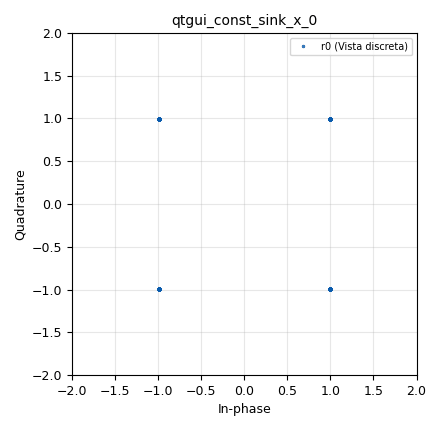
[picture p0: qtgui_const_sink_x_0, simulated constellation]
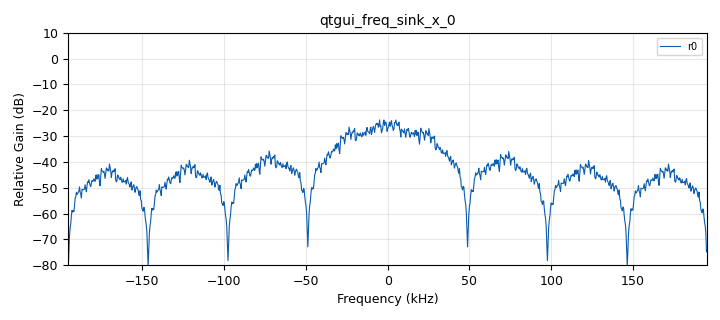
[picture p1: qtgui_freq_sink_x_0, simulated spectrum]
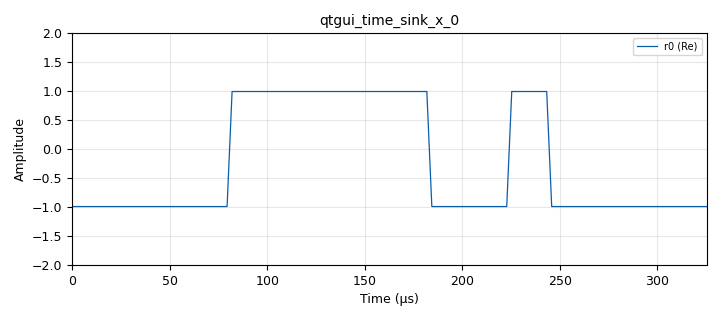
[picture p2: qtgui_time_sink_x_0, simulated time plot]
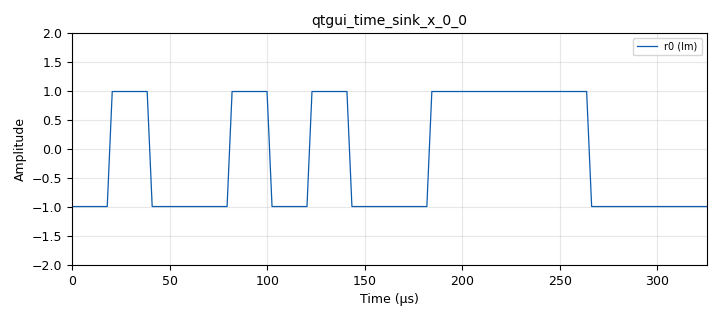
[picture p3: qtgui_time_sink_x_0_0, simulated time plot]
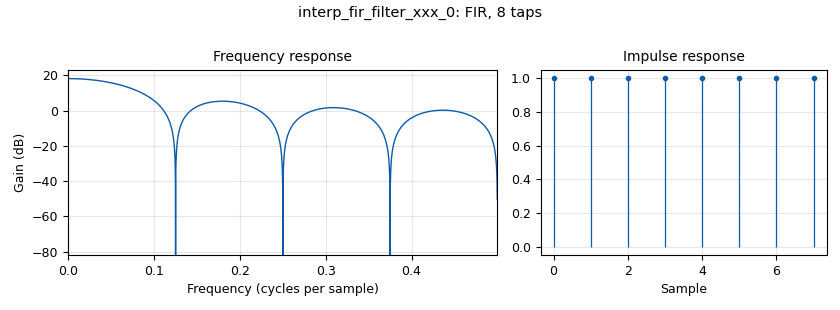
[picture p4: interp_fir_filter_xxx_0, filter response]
options:
  parameters:
    author: Homero Ortega Boada
    description: Lo máximo para practicar el tema de Filtro Coseno Alzado
    generate_options: qt_gui
    id: top_block
    output_language: python
    title: top_block
  states: {}

blocks:
- name: BW_filtro
  id: variable_qtgui_range
  parameters:
    gui_hint: 0,0,1,1
    start: '0'
    step: Fmax/100
    stop: Fmax
    value: Fmax
  states: {}
- name: Ch_phase
  id: variable_qtgui_range
  parameters:
    gui_hint: 0,1,1,1
    label: Ch_phase
    start: '0'
    step: 1/100
    stop: math.pi*2
    value: '0'
  states: {}
- name: Delay_eye
  id: variable_qtgui_range
  parameters:
    gui_hint: 3,0,1,1
    label: Centering the Eye
    rangeType: int
    start: '0'
    step: '1'
    stop: Sps-1
    value: '0'
  states: {}
- name: Fc
  id: variable
  parameters:
    value: 900e6
  states: {}
- name: Fmax
  id: variable
  parameters:
    value: samp_rate/2
  states: {}
- name: Gain_USRP_Rx_dB
  id: variable_qtgui_range
  parameters:
    gui_hint: 4,1,1,1
    label: Gain_USRP_Rx (dB)
    start: '0.'
    step: '1'
    stop: '130'
    value: '20'
    widget: counter
  states: {}
- name: Gain_USRP_Tx_dB
  id: variable_qtgui_range
  parameters:
    gui_hint: 3,1,1,1
    label: Gain_USRP_Tx (dB)
    start: '0.'
    step: '1'
    stop: '130'
    value: '30.'
    widget: counter
  states: {}
- name: M
  id: variable
  parameters:
    value: len(constelacion )
  states: {}
- name: Pn
  id: variable_qtgui_range
  parameters:
    gui_hint: 2,0,1,1
    label: Potencia del ruido
    start: '0'
    step: 1/100
    stop: '1'
    value: '0.05'
  states: {}
- name: Rb
  id: variable
  parameters:
    value: Rs*bps
  states: {}
- name: Rs
  id: variable
  parameters:
    value: samp_rate/Sps
  states: {}
- name: Sps
  id: variable
  parameters:
    value: '8'
  states: {}
- name: Timing
  id: variable_qtgui_range
  parameters:
    gui_hint: menu@4:1,0,1,1
    label: Timing
    rangeType: int
    start: '0'
    step: '1'
    stop: Sps-1
    value: '1'
  states: {}
- name: beta
  id: variable_qtgui_range
  parameters:
    gui_hint: 1,0,1,1
    label: beta
    start: '0'
    step: 1/100
    stop: '1'
    value: '1'
  states: {}
- name: bps
  id: variable
  parameters:
    value: int(math.log(M,2))
  states: {}
- name: ch_freq
  id: variable_qtgui_range
  parameters:
    gui_hint: 1,1,1,1
    label: ch_freq
    start: '0'
    step: 1/100
    stop: '100'
    value: '0'
  states: {}
- name: constelacion
  id: variable
  parameters:
    value: digital.constellation_qpsk().points()
  states: {}
- name: fading
  id: variable_qtgui_range
  parameters:
    gui_hint: 2,1,1,1
    label: fading
    start: '0'
    step: 1/100
    stop: '1'
    value: '1'
  states: {}
- name: h
  id: variable
  parameters:
    value: '[1]*Sps'
  states: {}
- name: h
  id: variable
  parameters:
    value: wform.rcos(Sps,ntaps,beta)
  states: {state: disabled}
- name: h
  id: variable
  parameters:
    value: wform.rrcos(Sps,ntaps,beta)
  states: {state: disabled}
- name: ntaps
  id: variable
  parameters:
    value: 16*Sps
  states: {}
- name: retardo_propag
  id: variable_qtgui_range
  parameters:
    gui_hint: menu@4:0,0,1,1
    label: Delay_Propagation_Compensation
    rangeType: int
    start: '0'
    step: '1'
    stop: Sps*ntaps
    value: '1'
  states: {}
- name: samp_rate
  id: variable
  parameters:
    value: '390625'
  states: {}
- name: analog_random_source_x_0
  id: analog_random_source_x
  parameters:
    max: '2'
    min: '0'
    num_samps: '1000'
    repeat: 'True'
    type: byte
  states: {}
- name: blocks_complex_to_float_0
  id: blocks_complex_to_float
  parameters: {}
  states: {}
- name: blocks_multiply_const_vxx_1_0_0
  id: blocks_multiply_const_vxx
  parameters:
    const: '0.7'
    type: complex
  states: {}
- name: blocks_pack_k_bits_bb_0
  id: blocks_pack_k_bits_bb
  parameters:
    k: '8'
  states: {}
- name: blocks_packed_to_unpacked_xx_0
  id: blocks_packed_to_unpacked_xx
  parameters:
    bits_per_chunk: bps
    endianness: gr.GR_MSB_FIRST
    type: byte
  states: {}
- name: blocks_vector_source_x_0
  id: blocks_vector_source_x
  parameters:
    repeat: 'True'
    type: byte
    vector: (1, 0, 1,1,0,0,1,0)
  states: {state: disabled}
- name: digital_chunks_to_symbols_xx_0
  id: digital_chunks_to_symbols_xx
  parameters:
    dimension: '1'
    in_type: byte
    out_type: complex
    symbol_table: constelacion
  states: {}
- name: digital_diff_encoder_bb_0
  id: digital_diff_encoder_bb
  parameters:
    coding: digital.DIFF_DIFFERENTIAL
    modulus: M
  states: {}
- name: import_0
  id: import
  parameters:
    imports: import math
  states: {}
- name: import_0_0
  id: import
  parameters:
    imports: import random
  states: {}
- name: import_0_0_0
  id: import
  parameters:
    imports: import numpy as np
  states: {}
- name: interp_fir_filter_xxx_0
  id: interp_fir_filter_xxx
  parameters:
    interp: Sps
    taps: h
    type: ccf
  states: {}
- name: menu
  id: qtgui_tab_widget
  parameters:
    gui_hint: 10,0,1,2
    label0: Time
    label1: PSD
    label2: Eye Diagram
    label3: Constellation
    label4: Timing
    label5: M-PAM
    label6: Bits
    label7: RF
    num_tabs: '8'
  states: {}
- name: note_0
  id: note
  parameters:
    note: M-PAM
  states: {}
- name: note_0_0
  id: note
  parameters:
    note: DIFF MODULATION
  states: {}
- name: note_0_0_0
  id: note
  parameters:
    note: PRE-CHANNEL
  states: {}
- name: qtgui_const_sink_x_0
  id: qtgui_const_sink_x
  parameters:
    gui_hint: menu@3:0,0,1,1
    label1: r0 (Vista discreta)
    size: '1024'
    type: complex
  states: {}
- name: qtgui_freq_sink_x_0
  id: qtgui_freq_sink_x
  parameters:
    average: '0.05'
    bw: samp_rate
    fc: '0'
    fftsize: '1024'
    gui_hint: menu@1:0,0,1,1
    label1: r0
    type: complex
    width1: '3'
    ymin: '-80'
  states: {}
- name: qtgui_time_sink_x_0
  id: qtgui_time_sink_x
  parameters:
    gui_hint: menu@0:1,0,1,1
    label1: r0 (Re)
    size: 16*Sps
    srate: samp_rate
    type: float
    width1: '3'
    ymax: '2'
    ymin: '-2'
  states: {}
- name: qtgui_time_sink_x_0_0
  id: qtgui_time_sink_x
  parameters:
    color1: red
    gui_hint: menu@0:2,0,1,1
    label1: r0 (Im)
    size: 16*Sps
    srate: samp_rate
    type: float
    width1: '3'
    ymax: '2'
    ymin: '-2'
  states: {}
- name: uhd_usrp_sink_0
  id: uhd_usrp_sink
  parameters:
    ant0: TX/RX
    center_freq0: Fc
    clock_rate: '0.0'
    dev_args: '""'
    gain0: Gain_USRP_Tx_dB
    len_tag_name: ''
    samp_rate: samp_rate
    sync: none
    type: fc32
  states: {}
- name: virtual_sink_0_0_0
  id: virtual_sink
  parameters:
    stream_id: t3
  states: {}
- name: virtual_sink_0_0_0_1
  id: virtual_sink
  parameters:
    stream_id: t4
  states: {}
- name: virtual_sink_0_0_0_1_0
  id: virtual_sink
  parameters:
    stream_id: t5
  states: {}
- name: virtual_sink_0_2
  id: virtual_sink
  parameters:
    stream_id: t0
  states: {}
- name: virtual_source_0
  id: virtual_source
  parameters:
    stream_id: t0
  states: {}
- name: wform
  id: epy_module
  parameters:
    source_code: |
      import math
      import numpy
      #######################################################
      ##        Hecho por Homero Ortega Boada              ##
      ##        comdiguis@saber.uis.edu.co                 ##
      ##     Universidad Industrial de Santander           ##
      #######################################################

      #######################################################
      ##               Forma rectangular                   ##
      #######################################################                       
      def rect(Sps):
          return Sps*[1.,]

      #######################################################
      ##               Forma de Nyquist                    ##
      #######################################################                       
      def nyq(Sps,ntaps):
          n=numpy.linspace(-int(ntaps/2), int(ntaps/2-1),ntaps)
          h=numpy.sinc(n/Sps)
      #    return h/numpy.amax(h)
          return h
      #######################################################
      ##               Forma Coseno Alzado                 ##
      #######################################################                       
      def rcos(Sps,ntaps,beta):
          if beta==0:
              h=nyq(Sps,ntaps)
          else:
              h=ntaps*[0,]
              for n in range(ntaps):
                  k=n-ntaps/2. # esto es para que h[n] quede centrada en la mitad del vector
                  if abs(k)==Sps/(2.*beta):
                      h[n]=numpy.sinc(1./(2.*beta))*math.pi/4.
                  else:
                      h[n]=numpy.sinc(k/Sps)*math.cos(beta*k*math.pi/Sps)/(1.-(2.*beta*k/Sps)**2)                
          Amp=numpy.amax(h)
          return h/Amp
      #######################################################
      ##            Forma Raiz de Coseno Alzado            ##
      #######################################################                       

      def rrcos(Sps,ntaps,beta):
          if beta==0:
              h=nyq(Sps,ntaps)
          else:
              h=ntaps*[0,]
              beta4=4.*beta
              for n in range(ntaps):
                  k=n-ntaps/2. # esto es para que h[n] quede centrada en la mitad del vector
                  if k==0:
                      h[n]=1+beta*(4./math.pi-1.)
                  elif abs(k)==Sps/beta4:
                      ha=(1.+2./math.pi)*math.sin(math.pi/beta4)
                      hb=(1.-2./math.pi)*math.cos(math.pi/beta4)
                      h[n]=(ha+hb)*beta/math.sqrt(2.)
                  else:
                      ks=k/Sps
                      kspi=math.pi*ks
                      Num=math.sin(kspi*(1-beta))+beta4*ks*math.cos(kspi*(1+beta))
                      Den=kspi*(1.-(beta4*ks)**2)
                      h[n]=Num/Den                
          Amp=numpy.amax(h)
          return h/Amp
      ########################################################
      ##     Bipolar non return to zero level signal        ##
      ########################################################
      def B_NRZ_L(Sps):
          return Sps*[1.,]

      ########################################################
      ##  Forma sinc . Es la misma nyq() que aparece arriba ##
      ########################################################
      def sinc(Sps,ntaps):
          n=np.linspace(-int(ntaps/2), int(ntaps/2-1),ntaps)
          h=np.sinc(n/Sps)
          return h
      ########################################################
      ##              forma diente se sierra                ##
      ########################################################
      def saw(Sps):
          return np.linspace(0,Sps-1,Sps)	
      ########################################################
      #         Bipolar non return to zero signal           ##
      ########################################################
      def RZ(Sps):
          h=Sps*[1.,]
          Sps_m=int(Sps/2)
          h[Sps_m+1:Sps:1]=np.zeros(Sps-Sps_m)
          return h
  states: {}

connections:
- [analog_random_source_x_0, '0', blocks_pack_k_bits_bb_0, '0']
- [analog_random_source_x_0, '0', virtual_sink_0_0_0_1_0, '0']
- [blocks_complex_to_float_0, '0', qtgui_time_sink_x_0, '0']
- [blocks_complex_to_float_0, '1', qtgui_time_sink_x_0_0, '0']
- [blocks_multiply_const_vxx_1_0_0, '0', interp_fir_filter_xxx_0, '0']
- [blocks_pack_k_bits_bb_0, '0', blocks_packed_to_unpacked_xx_0, '0']
- [blocks_packed_to_unpacked_xx_0, '0', digital_diff_encoder_bb_0, '0']
- [blocks_packed_to_unpacked_xx_0, '0', virtual_sink_0_0_0_1, '0']
- [blocks_vector_source_x_0, '0', blocks_pack_k_bits_bb_0, '0']
- [blocks_vector_source_x_0, '0', virtual_sink_0_0_0_1_0, '0']
- [digital_chunks_to_symbols_xx_0, '0', blocks_multiply_const_vxx_1_0_0, '0']
- [digital_chunks_to_symbols_xx_0, '0', virtual_sink_0_0_0, '0']
- [digital_diff_encoder_bb_0, '0', digital_chunks_to_symbols_xx_0, '0']
- [interp_fir_filter_xxx_0, '0', uhd_usrp_sink_0, '0']
- [interp_fir_filter_xxx_0, '0', virtual_sink_0_2, '0']
- [virtual_source_0, '0', blocks_complex_to_float_0, '0']
- [virtual_source_0, '0', qtgui_const_sink_x_0, '0']
- [virtual_source_0, '0', qtgui_freq_sink_x_0, '0']

metadata:
  file_format: 1
  grc_version: v3.11.0.0git-810-g1ecb8565
